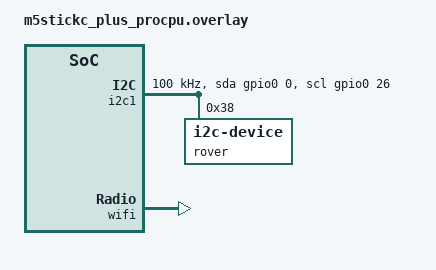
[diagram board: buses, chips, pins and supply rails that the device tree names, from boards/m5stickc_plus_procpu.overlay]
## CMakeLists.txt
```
# Copyright (c) 2024 Clunky Machines
# SPDX-License-Identifier: Apache-2.0
#
cmake_minimum_required(VERSION 3.20.0)

find_package(Zephyr REQUIRED HINTS $ENV{ZEPHYR_BASE})
project(m5stack-rover-sample)
target_sources(app PRIVATE src/main.c)
```

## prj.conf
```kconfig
# Copyright (c) 2024 Clunky Machines
# SPDX-License-Identifier: Apache-2.0
#
# This file contains selected Kconfig options for the application.
CONFIG_EARLY_CONSOLE=y
CONFIG_EVENTS=y
CONFIG_INIT_STACKS=y
CONFIG_HEAP_MEM_POOL_SIZE=98304

# Logging
CONFIG_PRINTK=y
CONFIG_LOG=y
CONFIG_NET_LOG=y
```

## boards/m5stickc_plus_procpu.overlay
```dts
/*
 * Copyright (c) 2024 Clunky Machines - julien@vermillard.com
 *
 * SPDX-License-Identifier: Apache-2.0
 */

/ {
       aliases {
		i2c-1 = &i2c1;
       };
};

&pinctrl {
       i2c1_default: i2c1_default {
               group1 {
                       pinmux = <I2C1_SDA_GPIO0>,
                                <I2C1_SCL_GPIO26>;
                       bias-pull-up;
                       drive-open-drain;
                       output-high;
               };
       };	
};

&i2c1 {
       status = "okay";
       clock-frequency = <I2C_BITRATE_STANDARD>;
       sda-gpios = <&gpio0 0 GPIO_OPEN_DRAIN>;
       scl-gpios = <&gpio0 26 GPIO_OPEN_DRAIN>;
       pinctrl-0 = <&i2c1_default>;
       scl-timeout-us = <0>;
       pinctrl-names = "default";

	rover: rover@38 {
		compatible = "i2c-device";
		reg = <0x38>;
              status = "okay";
	};
};

&wifi {
	status = "okay";
};
```

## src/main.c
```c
/*
 * Copyright (c) 2024 Clunky Machines - julien@vermillard.com
 * SPDX-License-Identifier: Apache-2.0
 */

#include <zephyr/kernel.h>
#include <zephyr/drivers/gpio.h>
#include <zephyr/drivers/i2c.h>

#include <stdio.h>

#define LOG_MODULE_NAME m5stack_rover_sample
#define LOG_LEVEL LOG_LEVEL_DBG

#include <zephyr/logging/log.h>

LOG_MODULE_REGISTER(LOG_MODULE_NAME);

#define SW0_NODE DT_ALIAS(sw0)
#if !DT_NODE_HAS_STATUS(SW0_NODE, okay)
#error "Unsupported board: sw0 devicetree alias is not defined"
#endif

static const struct gpio_dt_spec button = GPIO_DT_SPEC_GET_OR(SW0_NODE, gpios, {0});
static struct gpio_callback button_cb_data;

static const struct i2c_dt_spec i2c_rover = I2C_DT_SPEC_GET(DT_NODELABEL(rover));

struct k_event onOff_event;

#define ROVER_OFF 0
#define ROVER_FRONT 1
#define ROVER_REVERSE 2
#define ROVER_LEFT 3
#define ROVER_RIGHT 4

// look at the m5stack rover doc for the protocol but in a nutshell
// 0x00: front left motor
// 0x01: front right motor
// 0x02: back left motor
// 0x03: back right motor
// and the value is the speed (negative for reverse)
void setRover(int roverMode)
{
    switch (roverMode)
    {
    case ROVER_FRONT:
        i2c_reg_write_byte_dt(&i2c_rover, 0x00, 0x20);
        i2c_reg_write_byte_dt(&i2c_rover, 0x01, 0x20);
        i2c_reg_write_byte_dt(&i2c_rover, 0x02, 0x20);
        i2c_reg_write_byte_dt(&i2c_rover, 0x03, 0x20);
        break;
    case ROVER_REVERSE:
        i2c_reg_write_byte_dt(&i2c_rover, 0x00, -0x20);
        i2c_reg_write_byte_dt(&i2c_rover, 0x01, -0x20);
        i2c_reg_write_byte_dt(&i2c_rover, 0x02, -0x20);
        i2c_reg_write_byte_dt(&i2c_rover, 0x03, -0x20);
        break;
    case ROVER_LEFT:
        i2c_reg_write_byte_dt(&i2c_rover, 0x00, -0x20);
        i2c_reg_write_byte_dt(&i2c_rover, 0x01, 0x20);
        i2c_reg_write_byte_dt(&i2c_rover, 0x02, 0x20);
        i2c_reg_write_byte_dt(&i2c_rover, 0x03, -0x20);
        break;
    case ROVER_RIGHT:
        i2c_reg_write_byte_dt(&i2c_rover, 0x00, 0x20);
        i2c_reg_write_byte_dt(&i2c_rover, 0x01, -0x20);
        i2c_reg_write_byte_dt(&i2c_rover, 0x02, -0x20);
        i2c_reg_write_byte_dt(&i2c_rover, 0x03, 0x20);
        break;
    case ROVER_OFF:
    default:
        i2c_reg_write_byte_dt(&i2c_rover, 0x00, 0x00);
        i2c_reg_write_byte_dt(&i2c_rover, 0x01, 0x00);
        i2c_reg_write_byte_dt(&i2c_rover, 0x02, 0x00);
        i2c_reg_write_byte_dt(&i2c_rover, 0x03, 0x00);
    }
}

void button_pressed(const struct device *dev, struct gpio_callback *cb,
                    uint32_t pins)
{
    printk("Button pressed at %" PRIu32 "\n", k_cycle_get_32());
    // we send back an event to the main thread, because a blocking i2c write
    // in the button interrupt handler will crash
    k_event_set(&onOff_event, 0x001);
}

int main(void)
{
    k_event_init(&onOff_event);

    printk("Hello World\n");

    if (!device_is_ready(i2c_rover.bus))
    {
        printk("Rover I2C not ready.\n");
        return 0;
    }
    else
    {
        printk("Rover I2C ready.\n");
        printk("bus: '%s' address: 0x%x\n", i2c_rover.bus->name, i2c_rover.addr);
    }

    int ret;

    if (!gpio_is_ready_dt(&button))
    {
        printk("Error: button device %s is not ready\n",
               button.port->name);
        return 0;
    }

    ret = gpio_pin_configure_dt(&button, GPIO_INPUT);
    if (ret != 0)
    {
        printk("Error %d: failed to configure %s pin %d\n",
               ret, button.port->name, button.pin);
        return 0;
    }

    ret = gpio_pin_interrupt_configure_dt(&button, GPIO_INT_EDGE_TO_ACTIVE);
    if (ret != 0)
    {
        printk("Error %d: failed to configure interrupt on %s pin %d\n",
               ret, button.port->name, button.pin);
        return 0;
    }

    gpio_init_callback(&button_cb_data, button_pressed, BIT(button.pin));
    gpio_add_callback(button.port, &button_cb_data);
    printk("Set up button at %s pin %d\n", button.port->name, button.pin);

    int roverMode = ROVER_OFF;
    while (1)
    {
        uint32_t events = k_event_wait(&onOff_event, 0x1, true, K_FOREVER);
        if (events == 0)
        {
            printk("No input event are available!\n");
        }
        else
        {
            printk("Button event!\n");
            roverMode = (++roverMode) % 5;
            setRover(roverMode);
        }
        k_sleep(K_MSEC(10));
    }
    return -1;
}
```
